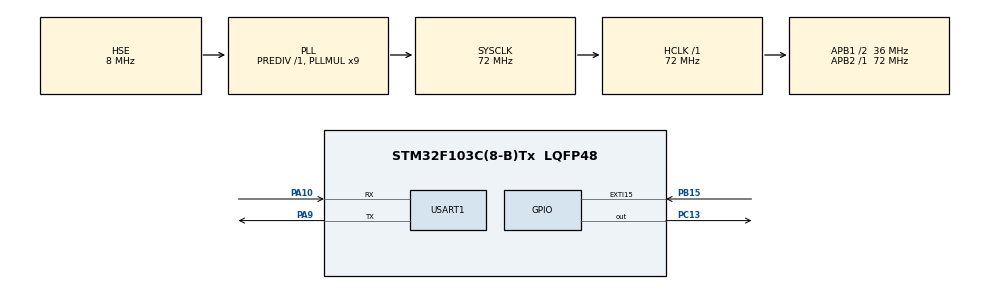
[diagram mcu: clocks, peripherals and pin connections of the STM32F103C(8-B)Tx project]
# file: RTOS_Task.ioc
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FREERTOS.Events01=counterEvent,Dynamic,NULL
FREERTOS.Mutexes01=sharedMutex,Dynamic,NULL,Available
FREERTOS.Queues01=UARTData,16,uint32_t,0,Dynamic,NULL,NULL
FREERTOS.Tasks01=CalcSwitch1,24,128,StartCalcSwitch1,Default,NULL,Dynamic,NULL,NULL;IncreaseVar,24,128,StartIncreaseVar,Default,NULL,Dynamic,NULL,NULL;DecreaseVar,24,128,StartDecreaseVar,Default,NULL,Dynamic,NULL,NULL;UART,24,256,StartUART,Default,NULL,Dynamic,NULL,NULL
FREERTOS.configTOTAL_HEAP_SIZE=10000
FREERTOS.configUSE_NEWLIB_REENTRANT=1
Mcu.Family=STM32F1
Mcu.Name=STM32F103C(8-B)Tx
Mcu.Package=LQFP48
NVIC.EXTI15_10_IRQn=true\:5\:0\:false\:false\:true\:true\:true\:true\:true
NVIC.PriorityGroup=NVIC_PRIORITYGROUP_4
NVIC.TIM1_UP_IRQn=true\:15\:0\:false\:false\:true\:false\:false\:true\:true
NVIC.TimeBase=TIM1_UP_IRQn
NVIC.TimeBaseIP=TIM1
PA10.Mode=Asynchronous
PA10.Signal=USART1_RX
PA13.Mode=Serial_Wire
PA13.Signal=SYS_JTMS-SWDIO
PA14.Mode=Serial_Wire
PA14.Signal=SYS_JTCK-SWCLK
PA9.Mode=Asynchronous
PA9.Signal=USART1_TX
PB15.GPIO_PuPd=GPIO_PULLDOWN
PB15.Signal=GPXTI15
PC13-TAMPER-RTC.Signal=GPIO_Output
PD0-OSC_IN.Mode=HSE-External-Oscillator
PD0-OSC_IN.Signal=RCC_OSC_IN
PD1-OSC_OUT.Mode=HSE-External-Oscillator
PD1-OSC_OUT.Signal=RCC_OSC_OUT
ProjectManager.HeapSize=0x200
ProjectManager.StackSize=0x400
ProjectManager.TargetToolchain=STM32CubeIDE
RCC.AHBFreq_Value=72000000
RCC.APB1CLKDivider=RCC_HCLK_DIV2
RCC.APB1Freq_Value=36000000
RCC.APB1TimFreq_Value=72000000
RCC.APB2Freq_Value=72000000
RCC.APB2TimFreq_Value=72000000
RCC.HCLKFreq_Value=72000000
RCC.PLLMUL=RCC_PLL_MUL9
RCC.PLLSourceVirtual=RCC_PLLSOURCE_HSE
RCC.SYSCLKFreq_VALUE=72000000
RCC.SYSCLKSource=RCC_SYSCLKSOURCE_PLLCLK
RCC.USBFreq_Value=72000000
USART1.VirtualMode=VM_ASYNC
VP_FREERTOS_VS_CMSIS_V2.Mode=CMSIS_V2
VP_SYS_VS_tim1.Mode=TIM1
board=custom

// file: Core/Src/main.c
/* USER CODE BEGIN Header */
/**
  ******************************************************************************
  * @file           : main.c
  * @brief          : Main program body
  ******************************************************************************
  * @attention
  *
  * Copyright (c) 2026 STMicroelectronics.
  * All rights reserved.
  *
  * This software is licensed under terms that can be found in the LICENSE file
  * in the root directory of this software component.
  * If no LICENSE file comes with this software, it is provided AS-IS.
  *
  ******************************************************************************
  */
/* USER CODE END Header */
#include "main.h"
#include "cmsis_os.h"

/* USER CODE BEGIN Includes */
#include <stdio.h>
#include "event_groups.h"
//#include <string.h>
/* USER CODE END Includes */

/* USER CODE BEGIN PD */
#define EVT_SWITCH_PRESSED (0x01U)
/* USER CODE END PD */

UART_HandleTypeDef huart1;

/* Definitions for CalcSwitch1 */
osThreadId_t CalcSwitch1Handle;
const osThreadAttr_t CalcSwitch1_attributes = {
  .name = "CalcSwitch1",
  .stack_size = 128 * 4,
  .priority = (osPriority_t) osPriorityNormal,
};
/* Definitions for IncreaseVar */
osThreadId_t IncreaseVarHandle;
const osThreadAttr_t IncreaseVar_attributes = {
  .name = "IncreaseVar",
  .stack_size = 128 * 4,
  .priority = (osPriority_t) osPriorityNormal,
};
/* Definitions for DecreaseVar */
osThreadId_t DecreaseVarHandle;
const osThreadAttr_t DecreaseVar_attributes = {
  .name = "DecreaseVar",
  .stack_size = 128 * 4,
  .priority = (osPriority_t) osPriorityNormal,
};
/* Definitions for UART */
osThreadId_t UARTHandle;
const osThreadAttr_t UART_attributes = {
  .name = "UART",
  .stack_size = 256 * 4,
  .priority = (osPriority_t) osPriorityNormal,
};
/* Definitions for UARTData */
osMessageQueueId_t UARTDataHandle;
const osMessageQueueAttr_t UARTData_attributes = {
  .name = "UARTData"
};
/* Definitions for sharedMutex */
osMutexId_t sharedMutexHandle;
const osMutexAttr_t sharedMutex_attributes = {
  .name = "sharedMutex"
};
/* Definitions for counterEvent */
osEventFlagsId_t counterEventHandle;
const osEventFlagsAttr_t counterEvent_attributes = {
  .name = "counterEvent"
};
/* USER CODE BEGIN PV */

typedef struct {
	uint8_t source; // 0 for SRC:counter, 1 for SRC:shared
	uint32_t value;
} UARTData_t;

volatile uint32_t counter;
uint32_t shared = 100; // protected by the mutex
/* USER CODE END PV */

void SystemClock_Config(void);
static void MX_GPIO_Init(void);
static void MX_USART1_UART_Init(void);
void StartCalcSwitch1(void *argument);
void StartIncreaseVar(void *argument);
void StartDecreaseVar(void *argument);
void StartUART(void *argument);

int main(void)
{

  /* MCU Configuration--------------------------------------------------------*/

  /* Reset of all peripherals, Initializes the Flash interface and the Systick. */
  HAL_Init();

  /* Configure the system clock */
  SystemClock_Config();

  /* Initialize all configured peripherals */
  MX_GPIO_Init();
  MX_USART1_UART_Init();

  /* Init scheduler */
  osKernelInitialize();
  /* Create the mutex(es) */
  /* creation of sharedMutex */
  sharedMutexHandle = osMutexNew(&sharedMutex_attributes);

  /* Create the queue(s) */
  /* creation of UARTData */
  UARTDataHandle = osMessageQueueNew (16, sizeof(UARTData_t), &UARTData_attributes);

  /* Create the thread(s) */
  /* creation of CalcSwitch1 */
  CalcSwitch1Handle = osThreadNew(StartCalcSwitch1, NULL, &CalcSwitch1_attributes);

  /* creation of IncreaseVar */
  IncreaseVarHandle = osThreadNew(StartIncreaseVar, NULL, &IncreaseVar_attributes);

  /* creation of DecreaseVar */
  DecreaseVarHandle = osThreadNew(StartDecreaseVar, NULL, &DecreaseVar_attributes);

  /* creation of UART */
  UARTHandle = osThreadNew(StartUART, NULL, &UART_attributes);

  /* creation of counterEvent */
  counterEventHandle = osEventFlagsNew(&counterEvent_attributes);

  /* Start scheduler */
  osKernelStart();

  /* We should never get here as control is now taken by the scheduler */

  /* Infinite loop */
  while (1)
  {

  }
}

void SystemClock_Config(void)
{
  RCC_OscInitTypeDef RCC_OscInitStruct = {0};
  RCC_ClkInitTypeDef RCC_ClkInitStruct = {0};

  /** Initializes the RCC Oscillators according to the specified parameters
  * in the RCC_OscInitTypeDef structure.
  */
  RCC_OscInitStruct.OscillatorType = RCC_OSCILLATORTYPE_HSE;
  RCC_OscInitStruct.HSEState = RCC_HSE_ON;
  RCC_OscInitStruct.HSEPredivValue = RCC_HSE_PREDIV_DIV1;
  RCC_OscInitStruct.HSIState = RCC_HSI_ON;
  RCC_OscInitStruct.PLL.PLLState = RCC_PLL_ON;
  RCC_OscInitStruct.PLL.PLLSource = RCC_PLLSOURCE_HSE;
  RCC_OscInitStruct.PLL.PLLMUL = RCC_PLL_MUL9;
  if (HAL_RCC_OscConfig(&RCC_OscInitStruct) != HAL_OK)
  {
    Error_Handler();
  }

  /** Initializes the CPU, AHB and APB buses clocks
  */
  RCC_ClkInitStruct.ClockType = RCC_CLOCKTYPE_HCLK|RCC_CLOCKTYPE_SYSCLK
                              |RCC_CLOCKTYPE_PCLK1|RCC_CLOCKTYPE_PCLK2;
  RCC_ClkInitStruct.SYSCLKSource = RCC_SYSCLKSOURCE_PLLCLK;
  RCC_ClkInitStruct.AHBCLKDivider = RCC_SYSCLK_DIV1;
  RCC_ClkInitStruct.APB1CLKDivider = RCC_HCLK_DIV2;
  RCC_ClkInitStruct.APB2CLKDivider = RCC_HCLK_DIV1;

  if (HAL_RCC_ClockConfig(&RCC_ClkInitStruct, FLASH_LATENCY_2) != HAL_OK)
  {
    Error_Handler();
  }
}

static void MX_USART1_UART_Init(void)
{

  huart1.Instance = USART1;
  huart1.Init.BaudRate = 115200;
  huart1.Init.WordLength = UART_WORDLENGTH_8B;
  huart1.Init.StopBits = UART_STOPBITS_1;
  huart1.Init.Parity = UART_PARITY_NONE;
  huart1.Init.Mode = UART_MODE_TX_RX;
  huart1.Init.HwFlowCtl = UART_HWCONTROL_NONE;
  huart1.Init.OverSampling = UART_OVERSAMPLING_16;
  if (HAL_UART_Init(&huart1) != HAL_OK)
  {
    Error_Handler();
  }

}

static void MX_GPIO_Init(void)
{
  GPIO_InitTypeDef GPIO_InitStruct = {0};

  /* GPIO Ports Clock Enable */
  __HAL_RCC_GPIOC_CLK_ENABLE();
  __HAL_RCC_GPIOD_CLK_ENABLE();
  __HAL_RCC_GPIOB_CLK_ENABLE();
  __HAL_RCC_GPIOA_CLK_ENABLE();

  /*Configure GPIO pin Output Level */
  HAL_GPIO_WritePin(GPIOC, GPIO_PIN_13, GPIO_PIN_RESET);

  /*Configure GPIO pin : PC13 */
  GPIO_InitStruct.Pin = GPIO_PIN_13;
  GPIO_InitStruct.Mode = GPIO_MODE_OUTPUT_PP;
  GPIO_InitStruct.Pull = GPIO_NOPULL;
  GPIO_InitStruct.Speed = GPIO_SPEED_FREQ_LOW;
  HAL_GPIO_Init(GPIOC, &GPIO_InitStruct);

  /*Configure GPIO pin : PB15 */
  GPIO_InitStruct.Pin = GPIO_PIN_15;
  GPIO_InitStruct.Mode = GPIO_MODE_IT_RISING;
  GPIO_InitStruct.Pull = GPIO_PULLDOWN;
  HAL_GPIO_Init(GPIOB, &GPIO_InitStruct);

  /* EXTI interrupt init*/
  HAL_NVIC_SetPriority(EXTI15_10_IRQn, 5, 0);
  HAL_NVIC_EnableIRQ(EXTI15_10_IRQn);

}

/* USER CODE BEGIN 4 */
void HAL_GPIO_EXTI_Callback(uint16_t GPIO_Pin) // #27
{
	static uint32_t lastTick = 0;
	BaseType_t xHigherPriorityTaskWoken = pdFALSE;

	if (GPIO_Pin != GPIO_PIN_15 || counterEventHandle == NULL)
		return;

	uint32_t now = HAL_GetTick();
	if ((now - lastTick) < 200) // for handling debounce
		return;
	lastTick = now;

	if (counter >= 9)
		counter = 0;
	else
		counter++;

	xEventGroupSetBitsFromISR((EventGroupHandle_t)counterEventHandle, EVT_SWITCH_PRESSED, &xHigherPriorityTaskWoken); // to set a flag so the calcswitch know the button is pressed
	portYIELD_FROM_ISR(xHigherPriorityTaskWoken); // this requests a context switch as soon as the ISR exits

}
/* USER CODE END 4 */

void StartCalcSwitch1(void *argument)
{
  /* USER CODE BEGIN 5 */
	UARTData_t  msg;
	uint32_t    counterCopy;
	EventBits_t bits;
  /* Infinite loop */
  for(;;)
  {
	  bits = xEventGroupWaitBits((EventGroupHandle_t)counterEventHandle, EVT_SWITCH_PRESSED, pdTRUE, pdFALSE, 2);
	  // The task blocks here, using no CPU, until the bit is set or 2 ticks (2 ms) pass

	  // checks whether the switch bit was in the returned value.
	  if (bits & EVT_SWITCH_PRESSED)
	  {
		  // This reads the global counter safely
		  taskENTER_CRITICAL();
		  counterCopy = counter;
		  taskEXIT_CRITICAL();

		  msg.source = 0;
		  msg.value  = counterCopy * 10U;

		  osMessageQueuePut(UARTDataHandle, &msg, 0, 0);
	  }
  }
  /* USER CODE END 5 */
}

void StartIncreaseVar(void *argument)
{
  /* USER CODE BEGIN StartIncreaseVar */
	UARTData_t msg;
	uint32_t nextWake = osKernelGetTickCount();
  /* Infinite loop */
  for(;;)
  {

	if (osMutexAcquire(sharedMutexHandle, osWaitForever) == osOK)
	{
		shared++;
		if (shared > 200)
		{
			shared = 100;
		}

		msg.source = 1;
		msg.value  = shared;

		osMutexRelease(sharedMutexHandle);

		osMessageQueuePut(UARTDataHandle, &msg, 0, 0);
	}

	nextWake += 10;
	osDelayUntil(nextWake);
  }
  /* USER CODE END StartIncreaseVar */
}

void StartDecreaseVar(void *argument)
{
  /* USER CODE BEGIN StartDecreaseVar */
  UARTData_t msg;
  uint32_t nextWake = osKernelGetTickCount();
  /* Infinite loop */
  for(;;)
  {
	  if (osMutexAcquire(sharedMutexHandle, osWaitForever) == osOK)
	  {
		  shared--;
		  if (shared < 100)
		  {
			  shared = 200;
		  }

		  msg.source = 1;
		  msg.value  = shared;

		  osMutexRelease(sharedMutexHandle);

		  osMessageQueuePut(UARTDataHandle, &msg, 0, 0);
	  }

	  nextWake += 12;
	  osDelayUntil(nextWake);

  }
  /* USER CODE END StartDecreaseVar */
}

void StartUART(void *argument)
{
  /* USER CODE BEGIN StartUART */
	UARTData_t rx;
	char txBuf[48];
	int len;
	uint32_t nextWake = osKernelGetTickCount();

  /* Infinite loop */
  for(;;)
  {
	  while (osMessageQueueGet(UARTDataHandle, &rx, NULL, 0) == osOK)
	  {
		  if (rx.source == 0)
		  {
			  len = snprintf(txBuf, sizeof(txBuf),
							 "Counter: %lu\r\n", (unsigned long)rx.value);
		  }
		  else
		  {
			  len = snprintf(txBuf, sizeof(txBuf),
							 "Shared: %lu\r\n", (unsigned long)rx.value);
		  }

		  if (len > 0)
		  {
			  HAL_UART_Transmit(&huart1, (uint8_t *)txBuf, (uint16_t)len, 100);
		  }
	  }

	  nextWake += 5;
	  osDelayUntil(nextWake);
  }
  /* USER CODE END StartUART */
}

void HAL_TIM_PeriodElapsedCallback(TIM_HandleTypeDef *htim)
{
  if (htim->Instance == TIM1)
  {
    HAL_IncTick();
  }
}

void Error_Handler(void)
{
  __disable_irq();
  while (1)
  {
  }
}
